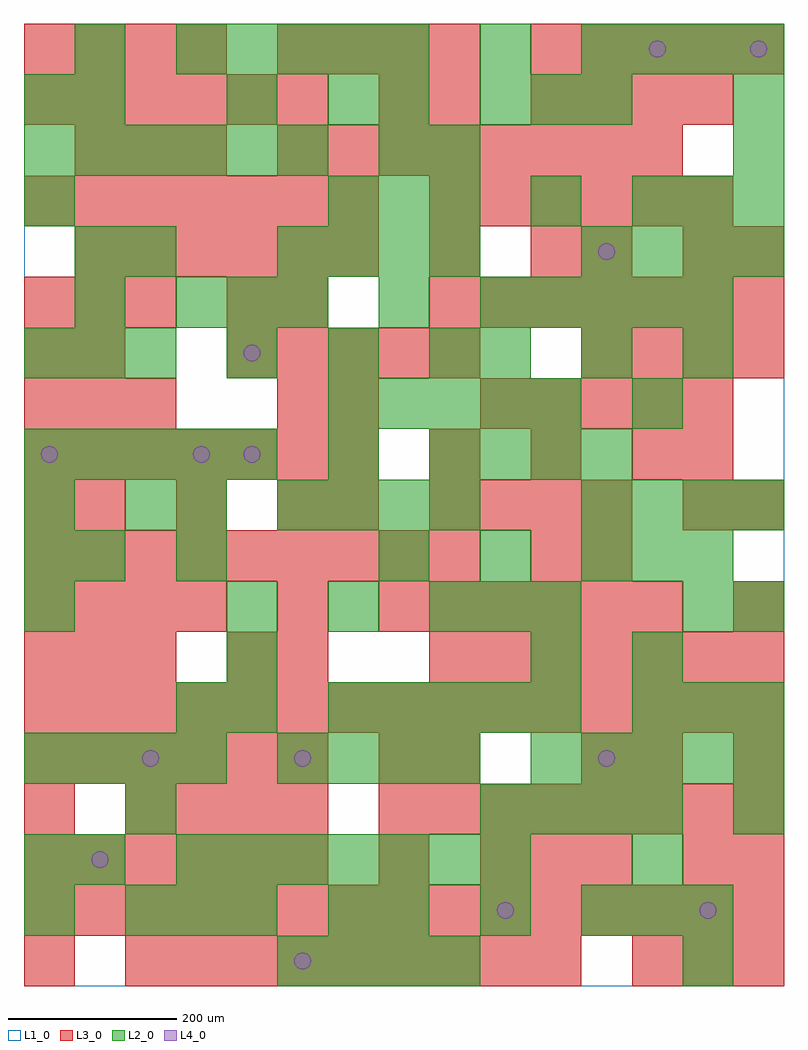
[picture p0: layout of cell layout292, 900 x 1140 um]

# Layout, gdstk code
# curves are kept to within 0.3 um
import gdstk
lib = gdstk.Library(unit=1e-6, precision=1e-09)
def R(c, l, rs):  # rectangles x0, y0, x1, y1
    for r in rs: c.add(gdstk.rectangle(r[:2], r[2:], *l))
def A(c, l, x, y, w, h, nx, ny, dx, dy):  # array of equal rectangles
    R(c, l, [(x+i*dx, y+j*dy, x+i*dx+w, y+j*dy+h) for i in range(nx) for j in range(ny)])
def P(c, l, *ps):  # polygons
    for p in ps: c.add(gdstk.Polygon(p, *l))
L1_0 = (1, 0)
L2_0 = (2, 0)
L3_0 = (3, 0)
L4_0 = (4, 0)

layout292 = lib.new_cell('layout292')
R(layout292, L1_0, [(0,0,900,1140)])
A(layout292, L2_0, 300, 0, 60, 60, 4, 2, 60, 240)
A(layout292, L2_0, 120, 60, 60, 60, 3, 1, 60, 0)
A(layout292, L2_0, 420, 60, 60, 60, 3, 2, 120, 420)
A(layout292, L2_0, 180, 120, 60, 60, 7, 1, 60, 0)
A(layout292, L2_0, 540, 180, 60, 60, 4, 1, 60, 0)
A(layout292, L2_0, 0, 240, 60, 60, 4, 1, 60, 0)
A(layout292, L2_0, 600, 240, 60, 60, 5, 1, 60, 0)
A(layout292, L2_0, 360, 300, 60, 60, 5, 2, 60, 360)
A(layout292, L2_0, 720, 300, 60, 60, 3, 2, 60, 600)
A(layout292, L2_0, 0, 420, 60, 60, 1, 3, 0, 60)
A(layout292, L2_0, 240, 420, 60, 60, 3, 2, 120, 300)
A(layout292, L2_0, 300, 540, 60, 60, 4, 2, 60, 300)
A(layout292, L2_0, 660, 540, 60, 60, 4, 2, 60, 300)
A(layout292, L2_0, 0, 600, 60, 60, 5, 1, 60, 0)
A(layout292, L2_0, 480, 600, 60, 60, 4, 1, 60, 0)
A(layout292, L2_0, 0, 720, 60, 60, 3, 1, 60, 0)
A(layout292, L2_0, 540, 720, 60, 60, 3, 1, 120, 0)
A(layout292, L2_0, 180, 780, 60, 60, 3, 1, 60, 0)
A(layout292, L2_0, 540, 780, 60, 60, 5, 1, 60, 0)
A(layout292, L2_0, 360, 900, 60, 60, 3, 1, 60, 0)
A(layout292, L2_0, 0, 960, 60, 60, 6, 1, 60, 0)
A(layout292, L2_0, 540, 1020, 60, 60, 3, 1, 60, 0)
A(layout292, L2_0, 180, 1080, 60, 60, 5, 1, 60, 0)
A(layout292, L2_0, 660, 1080, 60, 60, 4, 1, 60, 0)
R(layout292, L2_0, [(780,0,840,60), (0,60,60,120), (360,60,420,120), (720,60,780,120), (780,60,840,120), (0,120,60,180), (60,120,120,180), (720,120,780,180), (120,180,180,240), (840,180,900,240), (180,300,240,360), (240,300,300,360), (240,360,300,420), (600,360,660,420), (720,360,780,420), (540,420,600,480), (600,420,660,480), (780,420,840,480), (840,420,900,480), (60,480,120,540), (180,480,240,540), (720,480,780,540), (780,480,840,540), (120,540,180,600), (180,540,240,600), (360,600,420,660), (720,660,780,720), (60,780,120,840), (420,780,480,840), (60,840,120,900), (120,840,180,900), (0,900,60,960), (600,900,660,960), (420,960,480,1020), (480,960,540,1020), (840,960,900,1020), (0,1020,60,1080), (60,1020,120,1080), (240,1020,300,1080), (360,1020,420,1080), (420,1020,480,1080), (840,1020,900,1080), (60,1080,120,1140), (540,1080,600,1140)])
A(layout292, L3_0, 120, 0, 60, 60, 9, 1, 60, 0)
A(layout292, L3_0, 720, 0, 60, 60, 3, 1, 60, 0)
A(layout292, L3_0, 0, 60, 60, 60, 15, 2, 60, 240)
A(layout292, L3_0, 0, 120, 60, 60, 6, 2, 60, 120)
A(layout292, L3_0, 540, 120, 60, 60, 3, 1, 60, 0)
A(layout292, L3_0, 120, 180, 60, 60, 4, 1, 60, 0)
A(layout292, L3_0, 420, 180, 60, 60, 8, 1, 60, 0)
A(layout292, L3_0, 0, 360, 60, 60, 3, 2, 60, 300)
A(layout292, L3_0, 480, 360, 60, 60, 7, 2, 60, 420)
A(layout292, L3_0, 0, 420, 60, 60, 4, 2, 60, 660)
A(layout292, L3_0, 420, 420, 60, 60, 6, 1, 60, 0)
A(layout292, L3_0, 0, 480, 60, 60, 9, 1, 60, 0)
A(layout292, L3_0, 60, 540, 60, 60, 3, 1, 120, 0)
A(layout292, L3_0, 480, 540, 60, 60, 4, 1, 60, 0)
A(layout292, L3_0, 0, 600, 60, 60, 7, 2, 60, 300)
A(layout292, L3_0, 480, 600, 60, 60, 3, 1, 120, 0)
A(layout292, L3_0, 540, 660, 60, 60, 5, 1, 60, 0)
A(layout292, L3_0, 240, 720, 60, 60, 5, 1, 60, 0)
A(layout292, L3_0, 660, 720, 60, 60, 4, 1, 60, 0)
A(layout292, L3_0, 0, 780, 60, 60, 3, 1, 60, 0)
A(layout292, L3_0, 60, 840, 60, 60, 6, 1, 60, 0)
A(layout292, L3_0, 480, 900, 60, 60, 6, 1, 60, 0)
A(layout292, L3_0, 60, 960, 60, 60, 3, 1, 60, 0)
A(layout292, L3_0, 300, 960, 60, 60, 8, 1, 60, 0)
A(layout292, L3_0, 0, 1020, 60, 60, 6, 1, 60, 0)
A(layout292, L3_0, 600, 1020, 60, 60, 4, 1, 60, 0)
A(layout292, L3_0, 300, 1080, 60, 60, 4, 1, 60, 0)
A(layout292, L3_0, 600, 1080, 60, 60, 5, 1, 60, 0)
R(layout292, L3_0, [(0,0,60,60), (420,120,480,180), (780,120,840,180), (840,120,900,180), (0,180,60,240), (420,240,480,300), (480,240,540,300), (660,240,720,300), (720,240,780,300), (840,240,900,300), (240,360,300,420), (300,360,360,420), (300,420,360,480), (840,420,900,480), (600,480,660,540), (660,480,720,540), (0,540,60,600), (360,540,420,600), (780,540,840,600), (840,540,900,600), (780,600,840,660), (300,660,360,720), (360,660,420,720), (0,720,60,780), (60,720,120,780), (240,780,300,840), (300,780,360,840), (480,840,540,900), (600,840,660,900), (660,840,720,900), (780,840,840,900), (840,840,900,900), (420,1020,480,1080), (480,1020,540,1080)])
P(layout292, L4_0, [(40,630),(39.239,633.827),(37.071,637.071),(33.827,639.239),(30,640),(26.173,639.239),(22.929,637.071),(20.761,633.827),(20,630),(20.761,626.173),(22.929,622.929),(26.173,620.761),(30,620),(33.827,620.761),(37.071,622.929),(39.239,626.173)],
  [(100,150),(99.239,153.827),(97.071,157.071),(93.827,159.239),(90,160),(86.173,159.239),(82.929,157.071),(80.761,153.827),(80,150),(80.761,146.173),(82.929,142.929),(86.173,140.761),(90,140),(93.827,140.761),(97.071,142.929),(99.239,146.173)],
  [(160,270),(159.239,273.827),(157.071,277.071),(153.827,279.239),(150,280),(146.173,279.239),(142.929,277.071),(140.761,273.827),(140,270),(140.761,266.173),(142.929,262.929),(146.173,260.761),(150,260),(153.827,260.761),(157.071,262.929),(159.239,266.173)],
  [(220,630),(219.239,633.827),(217.071,637.071),(213.827,639.239),(210,640),(206.173,639.239),(202.929,637.071),(200.761,633.827),(200,630),(200.761,626.173),(202.929,622.929),(206.173,620.761),(210,620),(213.827,620.761),(217.071,622.929),(219.239,626.173)],
  [(280,630),(279.239,633.827),(277.071,637.071),(273.827,639.239),(270,640),(266.173,639.239),(262.929,637.071),(260.761,633.827),(260,630),(260.761,626.173),(262.929,622.929),(266.173,620.761),(270,620),(273.827,620.761),(277.071,622.929),(279.239,626.173)],
  [(280,750),(279.239,753.827),(277.071,757.071),(273.827,759.239),(270,760),(266.173,759.239),(262.929,757.071),(260.761,753.827),(260,750),(260.761,746.173),(262.929,742.929),(266.173,740.761),(270,740),(273.827,740.761),(277.071,742.929),(279.239,746.173)],
  [(340,30),(339.239,33.827),(337.071,37.071),(333.827,39.239),(330,40),(326.173,39.239),(322.929,37.071),(320.761,33.827),(320,30),(320.761,26.173),(322.929,22.929),(326.173,20.761),(330,20),(333.827,20.761),(337.071,22.929),(339.239,26.173)],
  [(340,270),(339.239,273.827),(337.071,277.071),(333.827,279.239),(330,280),(326.173,279.239),(322.929,277.071),(320.761,273.827),(320,270),(320.761,266.173),(322.929,262.929),(326.173,260.761),(330,260),(333.827,260.761),(337.071,262.929),(339.239,266.173)],
  [(580,90),(579.239,93.827),(577.071,97.071),(573.827,99.239),(570,100),(566.173,99.239),(562.929,97.071),(560.761,93.827),(560,90),(560.761,86.173),(562.929,82.929),(566.173,80.761),(570,80),(573.827,80.761),(577.071,82.929),(579.239,86.173)],
  [(700,270),(699.239,273.827),(697.071,277.071),(693.827,279.239),(690,280),(686.173,279.239),(682.929,277.071),(680.761,273.827),(680,270),(680.761,266.173),(682.929,262.929),(686.173,260.761),(690,260),(693.827,260.761),(697.071,262.929),(699.239,266.173)],
  [(700,870),(699.239,873.827),(697.071,877.071),(693.827,879.239),(690,880),(686.173,879.239),(682.929,877.071),(680.761,873.827),(680,870),(680.761,866.173),(682.929,862.929),(686.173,860.761),(690,860),(693.827,860.761),(697.071,862.929),(699.239,866.173)],
  [(760,1110),(759.239,1113.827),(757.071,1117.071),(753.827,1119.239),(750,1120),(746.173,1119.239),(742.929,1117.071),(740.761,1113.827),(740,1110),(740.761,1106.173),(742.929,1102.929),(746.173,1100.761),(750,1100),(753.827,1100.761),(757.071,1102.929),(759.239,1106.173)],
  [(820,90),(819.239,93.827),(817.071,97.071),(813.827,99.239),(810,100),(806.173,99.239),(802.929,97.071),(800.761,93.827),(800,90),(800.761,86.173),(802.929,82.929),(806.173,80.761),(810,80),(813.827,80.761),(817.071,82.929),(819.239,86.173)],
  [(880,1110),(879.239,1113.827),(877.071,1117.071),(873.827,1119.239),(870,1120),(866.173,1119.239),(862.929,1117.071),(860.761,1113.827),(860,1110),(860.761,1106.173),(862.929,1102.929),(866.173,1100.761),(870,1100),(873.827,1100.761),(877.071,1102.929),(879.239,1106.173)])

lib.write_gds('layout292.gds')
